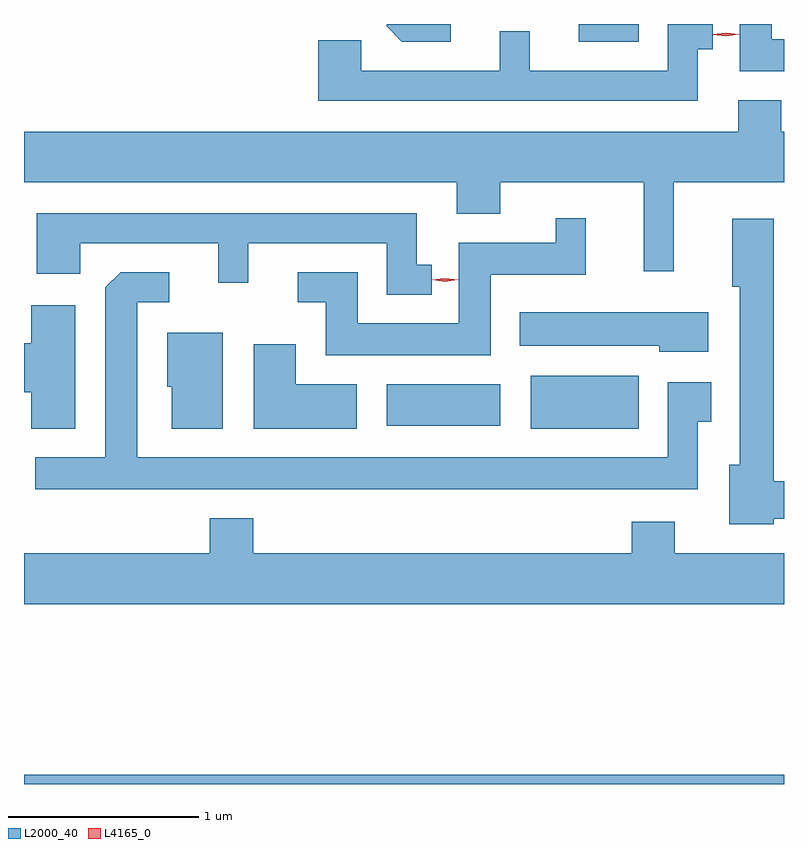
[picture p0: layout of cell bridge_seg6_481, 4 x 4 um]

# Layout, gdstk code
import gdstk
lib = gdstk.Library(unit=1e-6, precision=1e-09)
def R(c, l, rs):  # rectangles x0, y0, x1, y1
    for r in rs: c.add(gdstk.rectangle(r[:2], r[2:], *l))
def P(c, l, *ps):  # polygons
    for p in ps: c.add(gdstk.Polygon(p, *l))
L2000_40 = (2000, 40)
L4165_0 = (4165, 0)

bridge_seg6_481 = lib.new_cell('bridge_seg6_481')
R(bridge_seg6_481, L2000_40, [(877.553,1586.83,881.553,1586.879), (880.221,1588.701,880.789,1588.979), (879.461,1588.716,880.059,1588.934), (880.473,1590.736,880.789,1590.83)])
P(bridge_seg6_481, L2000_40, [(879.798,1590.83),(879.461,1590.83),(879.461,1590.817),(879.542,1590.736),(879.798,1590.736)],
  [(881.553,1590.749),(881.489,1590.749),(881.489,1590.83),(881.321,1590.83),(881.321,1590.581),(881.553,1590.581)],
  [(881.099,1590.696),(881.178,1590.696),(881.178,1590.83),(880.941,1590.83),(880.941,1590.584),(880.214,1590.584),(880.214,1590.793),(880.056,1590.793),(880.056,1590.584),(879.329,1590.584),(879.329,1590.744),(879.101,1590.744),(879.101,1590.426),(881.099,1590.426)],
  [(880.974,1589.996),(881.553,1589.996),(881.553,1590.264),(881.539,1590.264),(881.539,1590.429),(881.311,1590.429),(881.311,1590.264),(877.553,1590.264),(877.553,1589.996),(879.831,1589.996),(879.831,1589.831),(880.059,1589.831),(880.059,1589.996),(880.816,1589.996),(880.816,1589.528),(880.974,1589.528)],
  [(879.698,1589.564),(879.619,1589.564),(879.619,1589.834),(877.621,1589.834),(877.621,1589.516),(877.849,1589.516),(877.849,1589.676),(878.576,1589.676),(878.576,1589.468),(878.734,1589.468),(878.734,1589.676),(879.461,1589.676),(879.461,1589.406),(879.698,1589.406)],
  [(880.009,1589.511),(880.509,1589.511),(880.509,1589.808),(880.351,1589.808),(880.351,1589.679),(879.841,1589.679),(879.841,1589.254),(879.309,1589.254),(879.309,1589.524),(878.993,1589.524),(878.993,1589.366),(879.141,1589.366),(879.141,1589.086),(880.009,1589.086)],
  [(881.499,1588.226),(881.553,1588.226),(881.553,1588.424),(881.499,1588.424),(881.499,1589.804),(881.281,1589.804),(881.281,1589.446),(881.321,1589.446),(881.321,1588.509),(881.266,1588.509),(881.266,1588.196),(881.499,1588.196)],
  [(881.099,1588.736),(881.169,1588.736),(881.169,1588.944),(880.941,1588.944),(880.941,1588.549),(878.149,1588.549),(878.149,1589.366),(878.318,1589.366),(878.318,1589.524),(878.062,1589.524),(877.981,1589.444),(877.981,1588.549),(877.613,1588.549),(877.613,1588.381),(881.099,1588.381)],
  [(877.824,1589.349),(877.591,1589.349),(877.591,1589.149),(877.553,1589.149),(877.553,1588.891),(877.591,1588.891),(877.591,1588.701),(877.824,1588.701)],
  [(881.154,1589.314),(880.161,1589.314),(880.161,1589.136),(880.896,1589.136),(880.896,1589.106),(881.154,1589.106)],
  [(878.599,1589.204),(878.306,1589.204),(878.306,1588.921),(878.331,1588.921),(878.331,1588.701),(878.599,1588.701)],
  [(879.304,1588.934),(878.984,1588.934),(878.984,1589.144),(878.761,1589.144),(878.761,1588.701),(879.304,1588.701)],
  [(881.553,1588.044),(880.979,1588.044),(880.979,1588.209),(880.751,1588.209),(880.751,1588.044),(878.759,1588.044),(878.759,1588.229),(878.531,1588.229),(878.531,1588.044),(877.553,1588.044),(877.553,1587.776),(881.553,1587.776)])
P(bridge_seg6_481, L4165_0, [(879.768,1589.473),(879.699,1589.483),(879.699,1589.483),(879.699,1589.484),(879.768,1589.493),(879.838,1589.484),(879.838,1589.483),(879.838,1589.483)],
  [(881.248,1590.765),(881.179,1590.774),(881.179,1590.775),(881.179,1590.775),(881.248,1590.785),(881.318,1590.776),(881.318,1590.776),(881.318,1590.775)])

lib.write_gds('bridge_seg6_481.gds')
